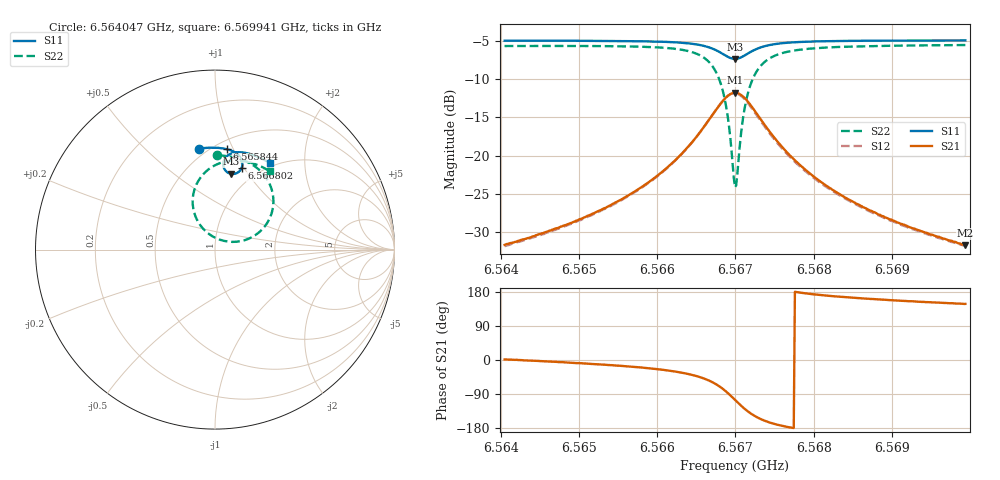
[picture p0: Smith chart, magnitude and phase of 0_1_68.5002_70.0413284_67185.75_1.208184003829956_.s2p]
#  HZ  S  RI  R  50.00
! Rohde & Schwarz Vector Network Analyzer
! Rohde-Schwarz,ZNB20-2Port,1311601062101988,3.16
! Created: UTC 3/20/2024, 5:03:43 PM
! freq[Hz]  re:S11  im:S11  re:S21  im:S21  re:S12  im:S12  re:S22  im:S22
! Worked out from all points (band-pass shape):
!   401 points, 6.564047 GHz to 6.569941 GHz, reference 50 ohm
!   highest |S21| = -11.75 dB at 6.566994 GHz (marker M1); lowest = -31.8 dB at 6.569941 GHz (marker M2)
!   |S21| within 3 dB of the highest: 6.5667 GHz to 6.567289 GHz (588.9 kHz wide, 0.00897 % of centre)
!   lowest |S11| = -7.3 dB at 6.566994 GHz (marker M3), VSWR 2.52, Z = 40.3 + j41.8 ohm
!   |S11| at or under -10 dB: nowhere
!   |S22| runs from -24.2 to -5.5 dB; largest |S21 - S12| = 0.011
!   S11 on the Smith chart (normalised r, x): 6.564047 GHz: 0.45, +0.75; 6.565844 GHz: 0.58, +0.94; 6.566802 GHz: 0.83, +0.97; 6.569941 GHz: 0.94, +1.35
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6.5640465e9  -0.0865 0.5623  0.0258 0.000698  0.0253 0.000269  0.0121 0.5246
6.5650339e9  -0.00708 0.5679  0.0381 -0.00573  0.0374 -0.00642  0.1018 0.5149
6.5658444e9  0.0656 0.5595  0.0601 -0.0229  0.0591 -0.0236  0.1974 0.4792
6.5660212e9  0.0833 0.5543  0.0682 -0.0314  0.0672 -0.0321  0.2244 0.462
6.5663306e9  0.1172 0.5379  0.087 -0.059  0.0855 -0.0602  0.2795 0.4073
6.5665517e9  0.142 0.5127  0.1004 -0.1025  0.0983 -0.1043  0.3187 0.3234
6.5666991e9  0.1525 0.4826  0.0969 -0.155  0.0933 -0.1577  0.3206 0.2229
6.5668022e9  0.148 0.4538  0.0714 -0.2046  0.0652 -0.2073  0.2775 0.1296
6.5668906e9  0.1282 0.4302  0.0209 -0.2431  0.0116 -0.2438  0.1859 0.06
6.5669201e9  0.118 0.4249  -0.00262 -0.2508  -0.0123 -0.2501  0.1437 0.0473
6.5669643e9  0.1005 0.4212  -0.0414 -0.2541  -0.0517 -0.2508  0.0749 0.0444
6.5669938e9  0.0882 0.4224  -0.0676 -0.2497  -0.0778 -0.2446  0.029 0.0546
6.5670232e9  0.0765 0.4262  -0.0925 -0.2401  -0.1019 -0.2334  -0.0137 0.0739
6.5670822e9  0.0579 0.441  -0.1334 -0.209  -0.1398 -0.1998  -0.0801 0.1333
6.5671264e9  0.0495 0.4554  -0.1531 -0.1799  -0.1572 -0.1699  -0.1094 0.1869
6.5671853e9  0.0459 0.4753  -0.1656 -0.1407  -0.1667 -0.1311  -0.1243 0.2565
6.5672738e9  0.0513 0.5002  -0.164 -0.0915  -0.1628 -0.0839  -0.1121 0.3416
6.567539e9  0.091 0.5356  -0.1217 -0.0193  -0.1191 -0.016  -0.0163 0.4608
6.5679811e9  0.1475 0.542  -0.0736 0.00796  -0.0719 0.00908  0.0982 0.4961
6.5684085e9  0.1892 0.5344  -0.0511 0.0131  -0.0501 0.0136  0.165 0.4922
6.5689684e9  0.2356 0.5184  -0.0354 0.0142  -0.0346 0.0145  0.2273 0.4751
6.569941e9  0.3055 0.4823  -0.0218 0.0136  -0.0213 0.0137  0.3073 0.4352
